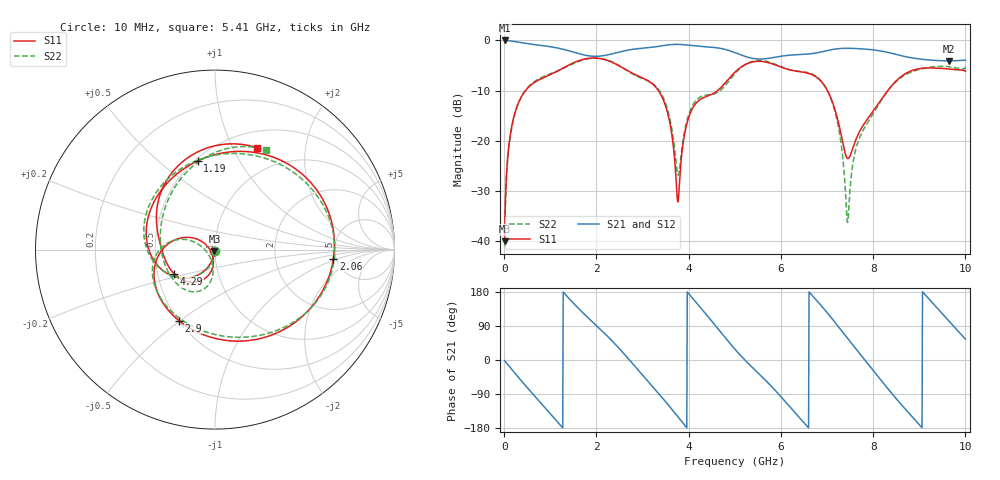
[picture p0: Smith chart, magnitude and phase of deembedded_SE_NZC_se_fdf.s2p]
# GHz S MA R 50
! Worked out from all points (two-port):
!   1000 points, 10 MHz to 10 GHz, reference 50 ohm
!   highest |S21| = -0.01 dB at 10 MHz (marker M1); lowest = -4.1 dB at 9.64 GHz (marker M2)
!   |S21| within 3 dB of the highest: 2.172 GHz to 5.167 GHz (2.995 GHz wide, 81.6 % of centre); 6.114 GHz to 8.597 GHz (2.483 GHz wide, 33.8 % of centre)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
!   lowest |S11| = -40.0 dB at 10 MHz (marker M3), VSWR 1.02, Z = 49.7 - j0.946 ohm
!   |S11| at or under -10 dB: start of sweep to 461.8 MHz; 3.344 GHz to 4.626 GHz (1.281 GHz wide, 32.2 % of centre); 7.01 GHz to 8.315 GHz (1.305 GHz wide, 17 % of centre)
!   |S22| runs from -41.0 to -3.5 dB; largest |S21 - S12| = 4e-08
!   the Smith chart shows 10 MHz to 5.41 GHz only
!   S11 on the Smith chart (normalised r, x): 10 MHz: 0.99, -0.02; 1.19 GHz: 0.52, +0.68; 2.06 GHz: 4.76, -0.84; 2.9 GHz: 0.50, -0.49; 4.29 GHz: 0.61, -0.18; 5.41 GHz: 0.68, +1.25
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0.01  0.00998 -107.5  0.9994 -1.5  0.9994 -1.5  0.008926 -78.6
0.17  0.1439 -118.8  0.9842 -25.6  0.9842 -25.6  0.1388 -116.8
0.58  0.3594 -175.6  0.9187 -83.8  0.9187 -83.8  0.3659 -175.1
1.19  0.5033 101.1  0.8347 -168.2  0.8347 -168.2  0.5049 102.6
1.68  0.6423 41.0  0.7251 127.8  0.7251 127.8  0.6332 33.8
2.06  0.6618 -4.3  0.6973 83.9  0.6973 83.9  0.6643 -7.7
2.9  0.4437 -116.9  0.8274 -25.6  0.8274 -25.6  0.4361 -113.0
3.34  0.3184 -173.5  0.8724 -86.8  0.8724 -86.8  0.328 -175.1
3.77  0.0246 -146.6  0.9138 -150.3  0.9138 -150.3  0.04538 -149.7
4.29  0.2647 -149.3  0.869 133.5  0.869 133.5  0.2789 -127.4
4.63  0.3174 169.4  0.842 83.5  0.842 83.5  0.3037 175.5
5.01  0.4853 120.9  0.7536 27.6  0.7536 27.6  0.4713 107.2
5.41  0.6139 67.7  0.6605 -23.1  0.6605 -23.1  0.622 62.9
6.05  0.5325 -13.2  0.7014 -103.4  0.7014 -103.4  0.5367 -10.5
6.67  0.4572 -98.3  0.7388 171.6  0.7388 171.6  0.4633 -93.8
7.16  0.2135 -159.3  0.818 101.4  0.818 101.4  0.2049 -149.7
7.45  0.06653 -128.4  0.8354 56.5  0.8354 56.5  0.01549 -93.7
7.87  0.1634 -111.0  0.8164 -7.7  0.8164 -7.7  0.1488 -98.1
8.34  0.3271 -174.2  0.7563 -78.7  0.7563 -78.7  0.3241 -175.6
8.98  0.5211 101.0  0.6552 -167.9  0.6552 -167.9  0.5108 98.0
9.64  0.5202 16.2  0.6263 103.7  0.6263 103.7  0.5476 13.5
10  0.4917 -30.2  0.6341 55.0  0.6341 55.0  0.5485 -33.2
